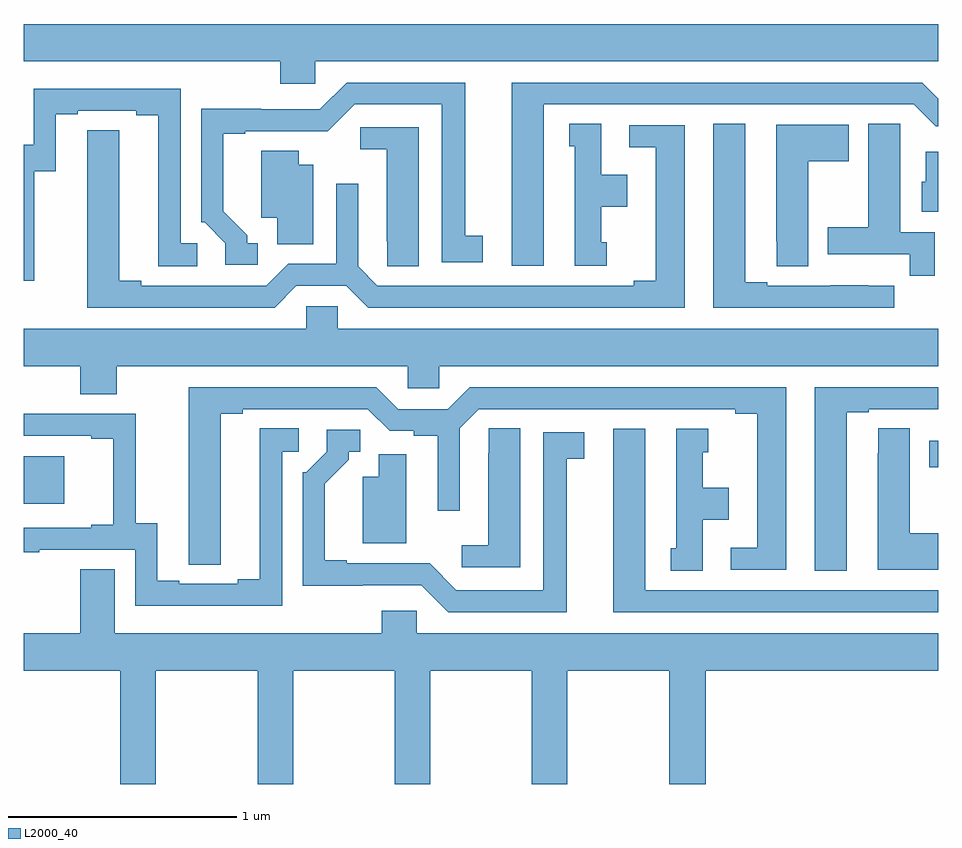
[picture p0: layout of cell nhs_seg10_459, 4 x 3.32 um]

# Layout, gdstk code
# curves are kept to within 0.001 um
import gdstk
lib = gdstk.Library(unit=1e-6, precision=1e-09)
def R(c, l, rs):  # rectangles x0, y0, x1, y1
    for r in rs: c.add(gdstk.rectangle(r[:2], r[2:], *l))
def P(c, l, *ps):  # polygons
    for p in ps: c.add(gdstk.Polygon(p, *l))
L2000_40 = (2000, 40)

nhs_seg10_459 = lib.new_cell('nhs_seg10_459')
R(nhs_seg10_459, L2000_40, [(133,1287.725,133.177,1287.934), (136.961,1287.886,137,1288.002)])
P(nhs_seg10_459, L2000_40, [(134.274,1289.66),(137,1289.66),(137,1289.824),(133,1289.824),(133,1289.66),(134.123,1289.66),(134.123,1289.562),(134.274,1289.562)],
  [(134.023,1288.866),(133.978,1288.866),(133.978,1288.901),(133.873,1289.006),(133.873,1289.343),(133.969,1289.343),(133.969,1289.355),(134.33,1289.354),(134.448,1289.472),(134.828,1289.472),(134.828,1288.782),(135.007,1288.782),(135.007,1288.898),(134.932,1288.898),(134.932,1289.568),(134.412,1289.568),(134.295,1289.451),(134.039,1289.451),(134.039,1289.453),(133.776,1289.453),(133.776,1288.956),(133.791,1288.956),(133.881,1288.866),(133.881,1288.77),(134.023,1288.77)],
  [(135.274,1289.472),(136.893,1289.472),(136.989,1289.376),(137,1289.376),(137,1289.497),(136.929,1289.568),(135.134,1289.568),(135.134,1288.767),(135.274,1288.767)],
  [(133.047,1289.179),(133.141,1289.179),(133.141,1289.43),(133.237,1289.43),(133.237,1289.445),(133.493,1289.445),(133.493,1289.425),(133.589,1289.425),(133.589,1288.765),(133.759,1288.765),(133.759,1288.866),(133.686,1288.866),(133.686,1289.541),(133.044,1289.541),(133.044,1289.295),(133,1289.295),(133,1288.701),(133.047,1288.701)],
  [(135.55,1288.869),(135.526,1288.869),(135.526,1289.024),(135.64,1289.024),(135.64,1289.164),(135.526,1289.164),(135.526,1289.387),(135.386,1289.387),(135.386,1289.289),(135.41,1289.289),(135.41,1288.767),(135.55,1288.767)],
  [(136.807,1288.68),(136.694,1288.68),(136.694,1288.681),(136.528,1288.681),(136.528,1288.68),(136.252,1288.68),(136.252,1288.695),(136.156,1288.695),(136.156,1289.387),(136.016,1289.387),(136.016,1288.584),(136.807,1288.584)],
  [(136.985,1288.914),(136.834,1288.914),(136.834,1289.276),(136.833,1289.276),(136.833,1289.387),(136.694,1289.387),(136.694,1288.935),(136.517,1288.935),(136.517,1288.818),(136.876,1288.818),(136.876,1288.722),(136.985,1288.722)],
  [(136.432,1289.224),(136.609,1289.224),(136.609,1289.383),(136.292,1289.383),(136.292,1288.873),(136.293,1288.873),(136.293,1288.765),(136.432,1288.765)],
  [(134.193,1288.68),(134.411,1288.68),(134.507,1288.584),(135.892,1288.584),(135.892,1289.382),(135.648,1289.382),(135.648,1289.286),(135.764,1289.286),(135.764,1288.7),(135.668,1288.7),(135.668,1288.68),(134.547,1288.68),(134.463,1288.764),(134.463,1289.125),(134.367,1289.125),(134.367,1288.776),(134.157,1288.776),(134.061,1288.68),(133.513,1288.68),(133.513,1288.7),(133.417,1288.7),(133.417,1289.36),(133.278,1289.36),(133.277,1288.584),(134.097,1288.584)],
  [(134.728,1289.373),(134.472,1289.373),(134.472,1289.276),(134.588,1289.276),(134.588,1288.873),(134.589,1288.873),(134.589,1288.765),(134.728,1288.765)],
  [(134.266,1289.209),(134.203,1289.209),(134.203,1289.27),(134.039,1289.27),(134.039,1288.976),(134.108,1288.976),(134.108,1288.861),(134.266,1288.861)],
  [(137,1289.266),(136.946,1289.266),(136.946,1289.133),(136.928,1289.133),(136.928,1289.003),(137,1289.003)],
  [(133.407,1288.328),(134.679,1288.328),(134.679,1288.23),(134.817,1288.23),(134.817,1288.328),(137,1288.328),(137,1288.492),(134.373,1288.492),(134.373,1288.59),(134.235,1288.59),(134.235,1288.492),(133,1288.492),(133,1288.328),(133.247,1288.328),(133.247,1288.204),(133.407,1288.204)],
  [(136.336,1288.236),(134.951,1288.236),(134.855,1288.14),(134.637,1288.14),(134.541,1288.236),(133.721,1288.236),(133.722,1287.46),(133.861,1287.46),(133.861,1288.12),(133.957,1288.12),(133.957,1288.14),(134.505,1288.14),(134.601,1288.044),(134.706,1288.044),(134.706,1288.024),(134.81,1288.024),(134.81,1287.696),(134.907,1287.696),(134.907,1288.056),(134.991,1288.14),(136.112,1288.14),(136.112,1288.12),(136.208,1288.12),(136.208,1287.534),(136.092,1287.534),(136.092,1287.438),(136.336,1287.438)],
  [(136.6,1288.125),(136.696,1288.125),(136.696,1288.14),(136.972,1288.14),(136.972,1288.139),(137,1288.139),(137,1288.236),(136.46,1288.236),(136.46,1287.433),(136.6,1287.433)],
  [(134.13,1287.954),(134.203,1287.954),(134.203,1288.055),(134.033,1288.055),(134.033,1287.395),(133.937,1287.395),(133.937,1287.375),(133.681,1287.375),(133.681,1287.39),(133.585,1287.39),(133.585,1287.641),(133.491,1287.641),(133.491,1288.119),(133,1288.119),(133,1288.023),(133.295,1288.023),(133.295,1288.011),(133.391,1288.011),(133.391,1287.634),(133.295,1287.634),(133.295,1287.621),(133,1287.621),(133,1287.513),(133.069,1287.513),(133.069,1287.525),(133.488,1287.525),(133.488,1287.279),(134.13,1287.279)],
  [(137,1287.597),(136.876,1287.597),(136.876,1288.055),(136.737,1288.055),(136.737,1287.947),(136.736,1287.947),(136.736,1287.437),(137,1287.437)],
  [(135.172,1288.055),(135.033,1288.055),(135.033,1287.947),(135.032,1287.947),(135.032,1287.544),(134.916,1287.544),(134.916,1287.447),(135.172,1287.447)],
  [(137,1287.348),(135.718,1287.348),(135.718,1288.054),(135.578,1288.054),(135.578,1287.252),(137,1287.252)],
  [(135.97,1287.656),(136.084,1287.656),(136.084,1287.796),(135.97,1287.796),(135.97,1287.951),(135.994,1287.951),(135.994,1288.054),(135.854,1288.054),(135.854,1287.531),(135.83,1287.531),(135.83,1287.433),(135.97,1287.433)],
  [(135.376,1287.922),(135.451,1287.922),(135.451,1288.038),(135.272,1288.038),(135.272,1287.348),(134.892,1287.348),(134.775,1287.465),(134.413,1287.465),(134.413,1287.478),(134.317,1287.478),(134.317,1287.814),(134.422,1287.919),(134.422,1287.954),(134.472,1287.954),(134.472,1288.05),(134.325,1288.05),(134.325,1287.954),(134.235,1287.864),(134.22,1287.864),(134.22,1287.368),(134.739,1287.369),(134.856,1287.252),(135.376,1287.252)],
  [(134.674,1287.942),(134.552,1287.942),(134.552,1287.844),(134.483,1287.844),(134.483,1287.554),(134.674,1287.554)],
  [(133.578,1286.996),(134.023,1286.996),(134.023,1286.5),(134.178,1286.5),(134.178,1286.996),(134.623,1286.996),(134.623,1286.5),(134.778,1286.5),(134.778,1286.996),(135.223,1286.996),(135.223,1286.5),(135.378,1286.5),(135.378,1286.996),(135.823,1286.996),(135.823,1286.5),(135.983,1286.5),(135.983,1286.996),(137,1286.996),(137,1287.16),(134.718,1287.16),(134.718,1287.258),(134.567,1287.258),(134.567,1287.16),(133.399,1287.16),(133.399,1287.44),(133.247,1287.44),(133.247,1287.16),(133,1287.16),(133,1286.996),(133.423,1286.996),(133.423,1286.5),(133.578,1286.5)])

lib.write_gds('nhs_seg10_459.gds')
